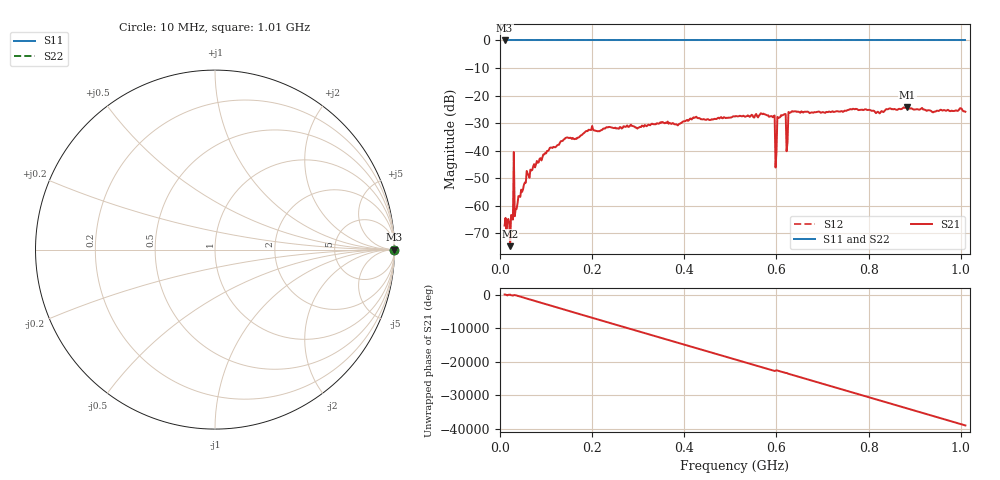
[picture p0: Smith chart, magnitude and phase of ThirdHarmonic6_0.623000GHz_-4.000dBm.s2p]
! 8/15/2025 8:29:31 PM
! C:\ANRITSUVNA\TEMP\TEMP.S2P
! CHANNEL.1
! TR.MEASUREMENT
! RAW.DATA
! RF.CORRECTION.OFF
! AVERAGING.OFF
! IF.BANDWIDTH: 5KHZ
! SWEEPTYPE:  FREQ.SWEEP(Linear)
! Reference Plane Port Info
! PORT:  PORT1  PORT2
! DISTANCE:  0  m  0  m
! TIME:  0  s  0  s
! PHASE.OFFSET:  0  deg.  0  deg.
! LOSS:  0  dB  0  dB
! REF.LOSS:  0  dB  0  dB
! REF.FREQ:  0  Hz  0  Hz
! Power Info
! POWER:  -20  dBm  -20  dBm
! EFF.POWER:  -20  dBm  -20  dBm
! SOURCE.ATTEN:  0  dB  0  dB
! TEST.ATTEN:  0  dB  0  dB
# GHZ S RI R 50.0
! FREQ.GHZ  S11RE  S11IM  S21RE  S21IM  S12RE  S12IM  S22RE  S22IM
!; PortSelection: Port_12
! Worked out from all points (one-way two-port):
!   501 points, 10 MHz to 1.01 GHz, reference 50 ohm
!   highest |S21| = -24.16 dB at 884 MHz (marker M1); lowest = -74.7 dB at 22 MHz (marker M2)
!   lowest |S11| = 0.0 dB at 10 MHz (marker M3)
!   |S11| at or under -10 dB: nowhere
!   |S22| runs from 0.0 to 0.0 dB; largest |S21 - S12| = 1.1
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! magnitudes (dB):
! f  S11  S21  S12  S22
! 10 MHz  0.0  -67.3  0.0  0.0
! 22 MHz  0.0  -74.7  0.0  0.0
! 28 MHz  0.0  -65.1  0.0  0.0
! 34 MHz  0.0  -61.2  0.0  0.0
! 36 MHz  0.0  -61.2  0.0  0.0
! 76 MHz  0.0  -46.1  0.0  0.0
! 142 MHz  0.0  -35.4  0.0  0.0
! 178 MHz  0.0  -34.3  0.0  0.0
! 344 MHz  0.0  -30.3  0.0  0.0
! 510 MHz  0.0  -27.6  0.0  0.0
! 592 MHz  0.0  -27.9  0.0  0.0
! 596 MHz  0.0  -27.3  0.0  0.0
! 602 MHz  0.0  -27.8  0.0  0.0
! 606 MHz  0.0  -28.0  0.0  0.0
! 616 MHz  0.0  -26.9  0.0  0.0
! 620 MHz  0.0  -26.8  0.0  0.0
! 626 MHz  0.0  -26.0  0.0  0.0
! 630 MHz  0.0  -26.2  0.0  0.0
! 678 MHz  0.0  -26.2  0.0  0.0
! 844 MHz  0.0  -24.8  0.0  0.0
! 884 MHz  0.0  -24.2  0.0  0.0
! 1.01 GHz  0.0  -25.9  0.0  0.0
